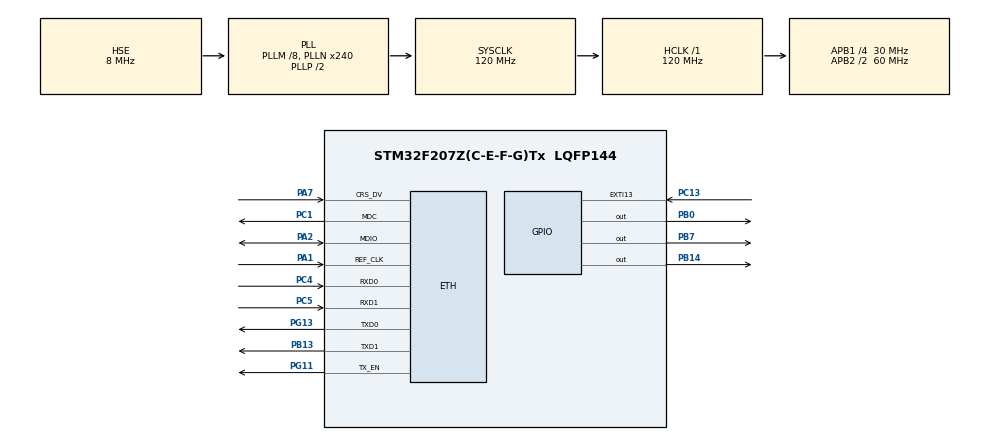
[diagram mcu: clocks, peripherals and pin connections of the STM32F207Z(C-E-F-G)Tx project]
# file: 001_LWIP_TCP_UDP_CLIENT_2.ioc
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ETH.MediaInterface=ETH_MEDIA_INTERFACE_RMII
ETH.PhyAddress=0
FREERTOS.Tasks01=defaultTask,1,1024,StartDefaultTask,Default,NULL,Dynamic,NULL,NULL
LWIP.IP_ADDRESS=192.168.000.020
LWIP.LWIP_DHCP=0
LWIP.NETMASK_ADDRESS=255.255.255.000
LWIP.Version=v2.0.3_Cube
Mcu.Family=STM32F2
Mcu.Name=STM32F207Z(C-E-F-G)Tx
Mcu.Package=LQFP144
NVIC.ETH_IRQn=true\:5\:0\:false\:false\:true\:true\:false\:true
NVIC.EXTI15_10_IRQn=true\:5\:0\:false\:false\:true\:true\:true\:true
NVIC.PriorityGroup=NVIC_PRIORITYGROUP_4
NVIC.TIM1_UP_TIM10_IRQn=true\:15\:0\:false\:false\:true\:false\:false\:true
NVIC.TimeBase=TIM1_UP_TIM10_IRQn
NVIC.TimeBaseIP=TIM1
PA1.Mode=RMII
PA1.Signal=ETH_REF_CLK
PA2.Mode=RMII
PA2.Signal=ETH_MDIO
PA7.Mode=RMII
PA7.Signal=ETH_CRS_DV
PB0.Signal=GPIO_Output
PB13.Mode=RMII
PB13.Signal=ETH_TXD1
PB14.Signal=GPIO_Output
PB7.Signal=GPIO_Output
PC1.Mode=RMII
PC1.Signal=ETH_MDC
PC13.Signal=GPXTI13
PC4.Mode=RMII
PC4.Signal=ETH_RXD0
PC5.Mode=RMII
PC5.Signal=ETH_RXD1
PG11.Mode=RMII
PG11.Signal=ETH_TX_EN
PG13.Mode=RMII
PG13.Signal=ETH_TXD0
PH0-OSC_IN.Mode=HSE-External-Oscillator
PH0-OSC_IN.Signal=RCC_OSC_IN
PH1-OSC_OUT.Mode=HSE-External-Oscillator
PH1-OSC_OUT.Signal=RCC_OSC_OUT
ProjectManager.HeapSize=0x2000
ProjectManager.StackSize=0x4000
ProjectManager.TargetToolchain=TrueSTUDIO
RCC.48MHZClocksFreq_Value=60000000
RCC.AHBFreq_Value=120000000
RCC.APB1CLKDivider=RCC_HCLK_DIV4
RCC.APB1Freq_Value=30000000
RCC.APB1TimFreq_Value=60000000
RCC.APB2CLKDivider=RCC_HCLK_DIV2
RCC.APB2Freq_Value=60000000
RCC.APB2TimFreq_Value=120000000
RCC.CortexFreq_Value=120000000
RCC.HCLKFreq_Value=120000000
RCC.HSE_VALUE=8000000
RCC.HSI_VALUE=16000000
RCC.LSE_VALUE=32768
RCC.PLLM=8
RCC.PLLMUL=RCC_PLL_MUL9
RCC.PLLN=240
RCC.PLLSourceVirtual=RCC_PLLSOURCE_HSE
RCC.PRESCALERUSB=RCC_USBCLKSOURCE_PLL_DIV1_5
RCC.SYSCLKFreq_VALUE=120000000
RCC.SYSCLKSource=RCC_SYSCLKSOURCE_PLLCLK
RCC.SYSCLKSourceVirtual=RCC_SYSCLKSOURCE_PLLCLK
RCC.USBFreq_Value=48000000
RCC.VCOOutputFreq_Value=240000000
VP_FREERTOS_VS_CMSIS_V1.Mode=CMSIS_V1
VP_LWIP_VS_Enabled.Mode=Enabled
VP_SYS_VS_tim1.Mode=TIM1
board=NUCLEO-F207ZG

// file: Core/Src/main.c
/* USER CODE BEGIN Header */
/**
  ******************************************************************************
  * @file           : main.c
  * @brief          : Main program body
  ******************************************************************************
  * @attention
  *
  * <h2><center>&copy; Copyright (c) 2021 STMicroelectronics.
  * All rights reserved.</center></h2>
  *
  * This software component is licensed by ST under Ultimate Liberty license
  * SLA0044, the "License"; You may not use this file except in compliance with
  * the License. You may obtain a copy of the License at:
  *                             www.st.com/SLA0044
  *
  ******************************************************************************
  */
/* USER CODE END Header */
#include "main.h"
#include "cmsis_os.h"
#include "lwip.h"

/* USER CODE BEGIN Includes */
#include "lwip/sys.h"
#include "lwip/sockets.h"
#include "string.h"
/* USER CODE END Includes */

/* USER CODE BEGIN PD */
#define PORT 5000
#define MAXDATASIZE 1
/* USER CODE END PD */

osThreadId defaultTaskHandle;
/* USER CODE BEGIN PV */
char buffer;
int bytes;
int count;
int err;
char result;
int sock;
/* USER CODE END PV */

void SystemClock_Config(void);
static void MX_GPIO_Init(void);
void StartDefaultTask(void const * argument);

int main(void)
{

  /* MCU Configuration--------------------------------------------------------*/

  /* Reset of all peripherals, Initializes the Flash interface and the Systick. */
  HAL_Init();

  /* Configure the system clock */
  SystemClock_Config();

  /* Initialize all configured peripherals */
  MX_GPIO_Init();

  /* Create the thread(s) */
  /* definition and creation of defaultTask */
  osThreadDef(defaultTask, StartDefaultTask, osPriorityAboveNormal, 0, 1024);
  defaultTaskHandle = osThreadCreate(osThread(defaultTask), NULL);

  /* Start scheduler */
  osKernelStart();

  /* We should never get here as control is now taken by the scheduler */
  /* Infinite loop */
  while (1)
  {

  }
}

void SystemClock_Config(void)
{
  RCC_OscInitTypeDef RCC_OscInitStruct = {0};
  RCC_ClkInitTypeDef RCC_ClkInitStruct = {0};

  /** Initializes the RCC Oscillators according to the specified parameters
  * in the RCC_OscInitTypeDef structure.
  */
  RCC_OscInitStruct.OscillatorType = RCC_OSCILLATORTYPE_HSE;
  RCC_OscInitStruct.HSEState = RCC_HSE_ON;
  RCC_OscInitStruct.PLL.PLLState = RCC_PLL_ON;
  RCC_OscInitStruct.PLL.PLLSource = RCC_PLLSOURCE_HSE;
  RCC_OscInitStruct.PLL.PLLM = 8;
  RCC_OscInitStruct.PLL.PLLN = 240;
  RCC_OscInitStruct.PLL.PLLP = RCC_PLLP_DIV2;
  RCC_OscInitStruct.PLL.PLLQ = 4;
  if (HAL_RCC_OscConfig(&RCC_OscInitStruct) != HAL_OK)
  {
    Error_Handler();
  }
  /** Initializes the CPU, AHB and APB buses clocks
  */
  RCC_ClkInitStruct.ClockType = RCC_CLOCKTYPE_HCLK|RCC_CLOCKTYPE_SYSCLK
                              |RCC_CLOCKTYPE_PCLK1|RCC_CLOCKTYPE_PCLK2;
  RCC_ClkInitStruct.SYSCLKSource = RCC_SYSCLKSOURCE_PLLCLK;
  RCC_ClkInitStruct.AHBCLKDivider = RCC_SYSCLK_DIV1;
  RCC_ClkInitStruct.APB1CLKDivider = RCC_HCLK_DIV4;
  RCC_ClkInitStruct.APB2CLKDivider = RCC_HCLK_DIV2;

  if (HAL_RCC_ClockConfig(&RCC_ClkInitStruct, FLASH_LATENCY_3) != HAL_OK)
  {
    Error_Handler();
  }
}

static void MX_GPIO_Init(void)
{
  GPIO_InitTypeDef GPIO_InitStruct = {0};

  /* GPIO Ports Clock Enable */

  __HAL_RCC_GPIOC_CLK_ENABLE();
  __HAL_RCC_GPIOH_CLK_ENABLE();
  __HAL_RCC_GPIOA_CLK_ENABLE();
  __HAL_RCC_GPIOB_CLK_ENABLE();
  __HAL_RCC_GPIOG_CLK_ENABLE();

  /*Configure GPIO pin Output Level */
  HAL_GPIO_WritePin(GPIOB, GPIO_PIN_0|GPIO_PIN_14|GPIO_PIN_7, GPIO_PIN_RESET);

  /*Configure GPIO pin : PC13 */
  GPIO_InitStruct.Pin = GPIO_PIN_13;
  GPIO_InitStruct.Mode = GPIO_MODE_IT_RISING;
  GPIO_InitStruct.Pull = GPIO_NOPULL;
  HAL_GPIO_Init(GPIOC, &GPIO_InitStruct);

  /*Configure GPIO pins : PB0 PB14 PB7 */
  GPIO_InitStruct.Pin = GPIO_PIN_0|GPIO_PIN_14|GPIO_PIN_7;
  GPIO_InitStruct.Mode = GPIO_MODE_OUTPUT_PP;
  GPIO_InitStruct.Pull = GPIO_NOPULL;
  GPIO_InitStruct.Speed = GPIO_SPEED_FREQ_LOW;
  HAL_GPIO_Init(GPIOB, &GPIO_InitStruct);

  /* EXTI interrupt init*/
  HAL_NVIC_SetPriority(EXTI15_10_IRQn, 5, 0);
  HAL_NVIC_EnableIRQ(EXTI15_10_IRQn);

}

/* USER CODE BEGIN 4 */
void tcp_client_task(void){

	struct sockaddr_in their_addr;
	their_addr.sin_addr.s_addr = inet_addr("192.168.0.10");
	their_addr.sin_family = AF_INET;
	their_addr.sin_port = htons(PORT);

	while(1){

		if((sock = socket(AF_INET, SOCK_STREAM, 0)) == -1){
	        perror("socket");
	        break;
		}

		if(connect(sock,(struct sockaddr *)&their_addr, sizeof(struct sockaddr)) == -1){
	        perror("socket");
	        break;
		}

		while(1){

			if(send(sock, &result, sizeof(result), 0) == -1){
				perror("send");
				continue;
			}

			if((bytes = recv(sock, &buffer, sizeof(buffer), 0)) == -1){
				perror("receive");
				continue;
			}

			if((int)buffer%3 == 1){
				HAL_GPIO_WritePin(GPIOB, GPIO_PIN_0, GPIO_PIN_SET);
				HAL_GPIO_WritePin(GPIOB, GPIO_PIN_7 | GPIO_PIN_14, GPIO_PIN_RESET);
			}
			else if((int)buffer%3 == 2){
				HAL_GPIO_WritePin(GPIOB, GPIO_PIN_7, GPIO_PIN_SET);
				HAL_GPIO_WritePin(GPIOB, GPIO_PIN_0 | GPIO_PIN_14, GPIO_PIN_RESET);
			}
			else if((int)buffer%3 == 0){
				HAL_GPIO_WritePin(GPIOB, GPIO_PIN_14, GPIO_PIN_SET);
				HAL_GPIO_WritePin(GPIOB, GPIO_PIN_0 | GPIO_PIN_7, GPIO_PIN_RESET);
			}

		}
		close(sock);
	}
}

/* USER CODE END 4 */

void StartDefaultTask(void const * argument)
{
  /* init code for LWIP */
  MX_LWIP_Init();
  /* USER CODE BEGIN 5 */
  tcp_client_task();
  /* Infinite loop */
  for(;;)
  {
    osDelay(1);
  }
  /* USER CODE END 5 */
}

void HAL_TIM_PeriodElapsedCallback(TIM_HandleTypeDef *htim)
{
  if (htim->Instance == TIM1) {
    HAL_IncTick();
  }
}

void Error_Handler(void)
{
  __disable_irq();
  while (1)
  {
  }
}

/************************ (C) COPYRIGHT STMicroelectronics *****END OF FILE****/
